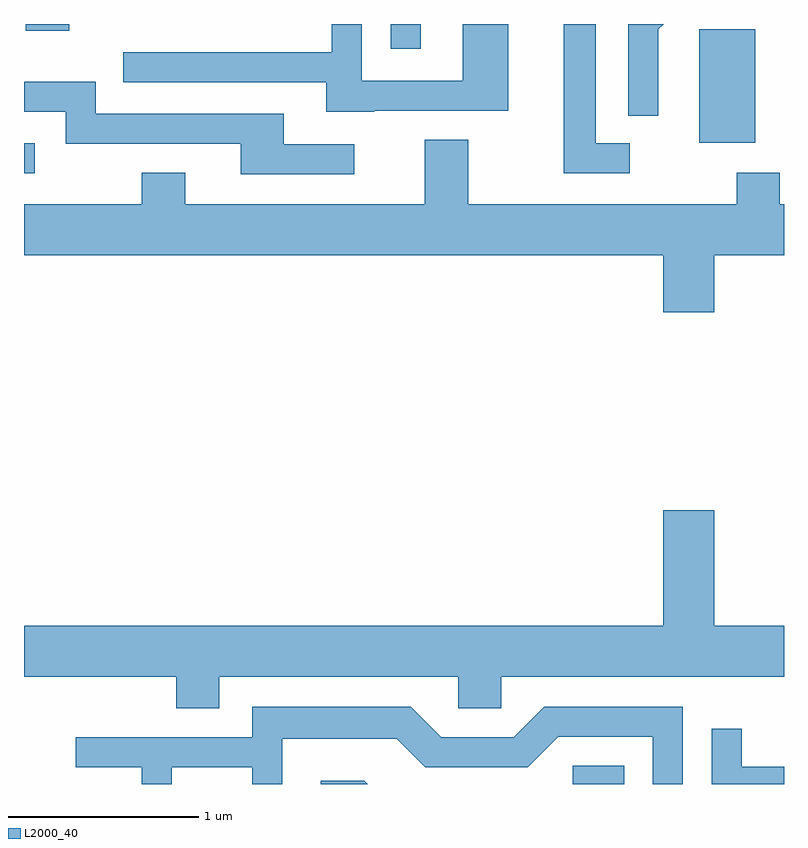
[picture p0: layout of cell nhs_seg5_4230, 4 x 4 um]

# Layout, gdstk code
import gdstk
lib = gdstk.Library(unit=1e-6, precision=1e-09)
def R(c, l, rs):  # rectangles x0, y0, x1, y1
    for r in rs: c.add(gdstk.rectangle(r[:2], r[2:], *l))
def P(c, l, *ps):  # polygons
    for p in ps: c.add(gdstk.Polygon(p, *l))
L2000_40 = (2000, 40)

nhs_seg5_4230 = lib.new_cell('nhs_seg5_4230')
R(nhs_seg5_4230, L2000_40, [(314.498,1394.072,314.769,1394.169), (311.611,1397.286,311.668,1397.444), (315.166,1397.446,315.459,1398.044), (313.541,1397.943,313.699,1398.072), (311.621,1398.036,311.849,1398.072)])
P(nhs_seg5_4230, L2000_40, [(313.455,1397.616),(314.159,1397.616),(314.159,1398.072),(313.921,1398.072),(313.921,1397.774),(313.389,1397.774),(313.389,1398.072),(313.231,1398.072),(313.231,1397.924),(312.133,1397.924),(312.133,1397.766),(313.201,1397.766),(313.201,1397.611),(313.455,1397.611)],
  [(314.949,1398.044),(314.977,1398.072),(314.791,1398.072),(314.791,1397.588),(314.949,1397.588)],
  [(314.798,1397.444),(314.619,1397.444),(314.619,1398.072),(314.451,1398.072),(314.451,1397.286),(314.798,1397.286)],
  [(313.348,1397.439),(312.979,1397.439),(312.979,1397.599),(311.989,1397.599),(311.989,1397.769),(311.611,1397.769),(311.611,1397.611),(311.831,1397.611),(311.831,1397.441),(312.751,1397.441),(312.751,1397.281),(313.348,1397.281)],
  [(315.244,1396.856),(315.611,1396.856),(315.611,1397.124),(315.589,1397.124),(315.589,1397.289),(315.361,1397.289),(315.361,1397.124),(313.949,1397.124),(313.949,1397.464),(313.721,1397.464),(313.721,1397.124),(312.459,1397.124),(312.459,1397.289),(312.231,1397.289),(312.231,1397.124),(311.611,1397.124),(311.611,1396.856),(314.976,1396.856),(314.976,1396.556),(315.244,1396.556)],
  [(312.639,1394.636),(313.896,1394.636),(313.896,1394.471),(314.124,1394.471),(314.124,1394.636),(315.611,1394.636),(315.611,1394.904),(315.244,1394.904),(315.244,1395.514),(314.976,1395.514),(314.976,1394.904),(311.611,1394.904),(311.611,1394.636),(312.411,1394.636),(312.411,1394.471),(312.639,1394.471)],
  [(312.389,1394.161),(312.811,1394.161),(312.811,1394.072),(312.969,1394.072),(312.969,1394.311),(313.574,1394.311),(313.724,1394.161),(314.262,1394.161),(314.422,1394.321),(314.921,1394.321),(314.921,1394.072),(315.079,1394.072),(315.079,1394.479),(314.349,1394.479),(314.189,1394.319),(313.807,1394.319),(313.647,1394.479),(312.811,1394.479),(312.811,1394.319),(311.883,1394.319),(311.883,1394.161),(312.231,1394.161),(312.231,1394.072),(312.389,1394.072)],
  [(315.611,1394.164),(315.389,1394.164),(315.389,1394.363),(315.231,1394.363),(315.231,1394.072),(315.611,1394.072)],
  [(313.402,1394.089),(313.173,1394.089),(313.173,1394.072),(313.419,1394.072)])

lib.write_gds('nhs_seg5_4230.gds')
